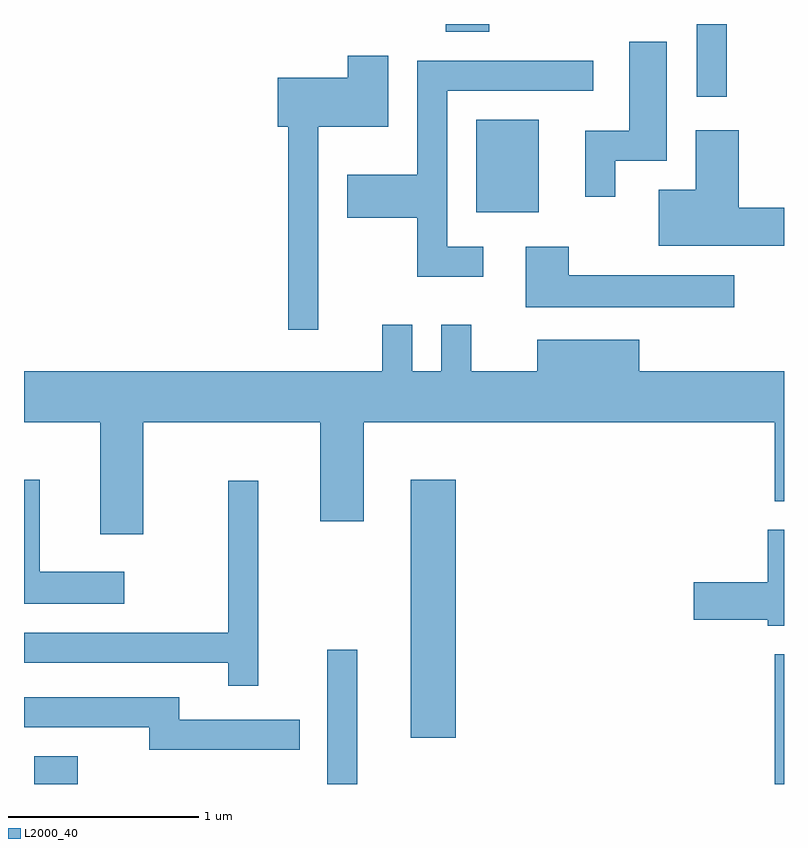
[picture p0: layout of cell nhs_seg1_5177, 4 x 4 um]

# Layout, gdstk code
import gdstk
lib = gdstk.Library(unit=1e-6, precision=1e-09)
def R(c, l, rs):  # rectangles x0, y0, x1, y1
    for r in rs: c.add(gdstk.rectangle(r[:2], r[2:], *l))
def P(c, l, *ps):  # polygons
    for p in ps: c.add(gdstk.Polygon(p, *l))
L2000_40 = (2000, 40)

nhs_seg1_5177 = lib.new_cell('nhs_seg1_5177')
R(nhs_seg1_5177, L2000_40, [(341.666,857.712,341.894,857.859), (343.206,857.712,343.364,858.418), (345.561,857.712,345.611,858.394), (343.646,857.956,343.884,859.314), (343.991,860.721,344.319,861.209), (345.151,861.328,345.309,861.712), (343.831,861.671,344.059,861.712)])
P(nhs_seg1_5177, L2000_40, [(344.724,860.991),(344.994,860.991),(344.994,861.619),(344.796,861.619),(344.796,861.149),(344.566,861.149),(344.566,860.803),(344.724,860.803)],
  [(343.159,861.171),(343.529,861.171),(343.529,861.544),(343.316,861.544),(343.316,861.429),(342.946,861.429),(342.946,861.171),(343.001,861.171),(343.001,860.103),(343.159,860.103)],
  [(344.028,860.539),(343.839,860.539),(343.839,861.361),(344.608,861.361),(344.608,861.519),(343.681,861.519),(343.681,860.919),(343.311,860.919),(343.311,860.691),(343.681,860.691),(343.681,860.381),(344.028,860.381)],
  [(345.611,860.744),(345.374,860.744),(345.374,861.154),(345.146,861.154),(345.146,860.839),(344.951,860.839),(344.951,860.546),(345.611,860.546)],
  [(345.348,860.389),(344.479,860.389),(344.479,860.539),(344.251,860.539),(344.251,860.221),(345.348,860.221)],
  [(342.239,859.616),(343.171,859.616),(343.171,859.096),(343.399,859.096),(343.399,859.616),(345.561,859.616),(345.561,859.201),(345.611,859.201),(345.611,859.884),(344.849,859.884),(344.849,860.049),(344.311,860.049),(344.311,859.884),(343.964,859.884),(343.964,860.128),(343.806,860.128),(343.806,859.884),(343.654,859.884),(343.654,860.128),(343.496,860.128),(343.496,859.884),(341.611,859.884),(341.611,859.616),(342.011,859.616),(342.011,859.026),(342.239,859.026)],
  [(342.138,858.829),(341.694,858.829),(341.694,859.314),(341.611,859.314),(341.611,858.661),(342.138,858.661)],
  [(342.844,859.308),(342.686,859.308),(342.686,858.509),(341.611,858.509),(341.611,858.351),(342.686,858.351),(342.686,858.228),(342.844,858.228)],
  [(345.611,859.049),(345.526,859.049),(345.526,858.774),(345.136,858.774),(345.136,858.576),(345.526,858.576),(345.526,858.546),(345.611,858.546)],
  [(343.063,858.049),(342.429,858.049),(342.429,858.169),(341.611,858.169),(341.611,858.011),(342.271,858.011),(342.271,857.891),(343.063,857.891)])

lib.write_gds('nhs_seg1_5177.gds')
